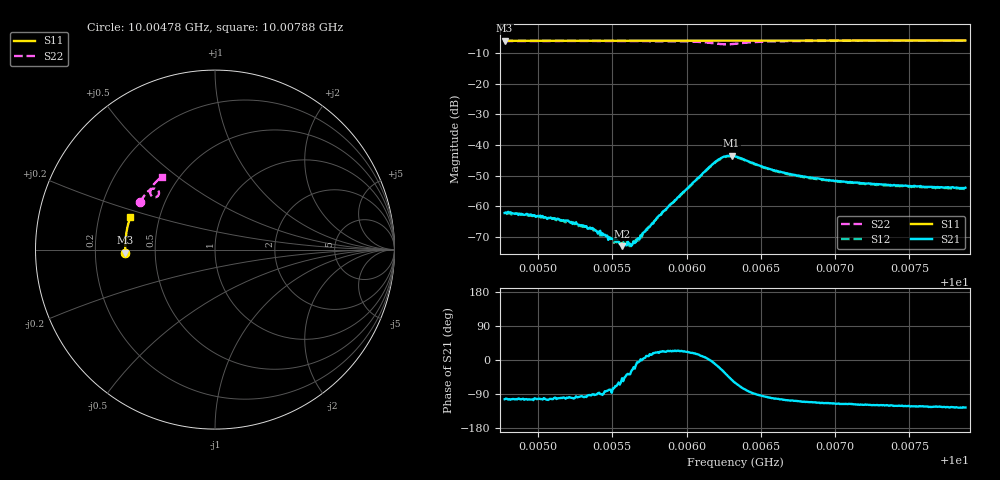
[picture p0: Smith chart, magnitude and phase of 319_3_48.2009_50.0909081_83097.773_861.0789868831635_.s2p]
#  HZ  S  RI  R  50.00
! Rohde & Schwarz Vector Network Analyzer
! Rohde-Schwarz,ZNB20-2Port,1311601062101988,3.16
! Created: UTC 3/20/2024, 11:50:19 AM
! freq[Hz]  re:S11  im:S11  re:S21  im:S21  re:S12  im:S12  re:S22  im:S22
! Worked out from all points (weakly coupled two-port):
!   401 points, 10.00478 GHz to 10.00788 GHz, reference 50 ohm
!   highest |S21| = -43.55 dB at 10.0063 GHz (marker M1); lowest = -73.1 dB at 10.00557 GHz (marker M2)
!   lowest |S11| = -6.0 dB at 10.00478 GHz (marker M3), VSWR 2.99, Z = 16.7 - j0.745 ohm
!   |S11| at or under -10 dB: nowhere
!   |S22| runs from -7.2 to -6.0 dB; largest |S21 - S12| = 0.00038
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1.0004775e10  -0.4989 -0.0167  -0.00018 -0.000753  -0.000144 -0.000769  -0.4169 0.2646
1.0004938e10  -0.4995 -0.00603  -0.000165 -0.000692  -0.00012 -0.000685  -0.4112 0.2743
1.0005093e10  -0.4997 0.00381  -0.000144 -0.000609  -0.000103 -0.000629  -0.4055 0.2835
1.0005248e10  -0.4999 0.014  -9.31e-05 -0.000508  -6.06e-05 -0.000505  -0.3994 0.2927
1.0005295e10  -0.4998 0.0171  -4.48e-05 -0.000486  -4.25e-05 -0.000468  -0.3974 0.2955
1.000538e10  -0.4998 0.0226  -1.71e-05 -0.000409  -4.84e-06 -0.000409  -0.3937 0.3006
1.0005419e10  -0.4999 0.0251  9.33e-07 -0.000396  9.08e-06 -0.000331  -0.3921 0.303
1.0005458e10  -0.4998 0.0277  4.26e-05 -0.00032  7.26e-05 -0.000324  -0.3902 0.3054
1.0005497e10  -0.4998 0.0301  1.87e-05 -0.000295  8.92e-05 -0.000263  -0.3884 0.3077
1.0005566e10  -0.4996 0.0347  0.000148 -0.000166  0.000145 -0.000202  -0.3849 0.312
1.0005621e10  -0.4994 0.0382  0.000193 -0.000148  0.000198 -0.000103  -0.382 0.3153
1.0005644e10  -0.4994 0.0396  0.000253 -8.7e-05  0.000256 -6.36e-05  -0.3808 0.3168
1.0005667e10  -0.4992 0.0412  0.000288 -3.01e-05  0.000272 -2.43e-05  -0.3794 0.3183
1.0005815e10  -0.4987 0.0506  0.000663 0.000224  0.000611 0.000247  -0.3695 0.3278
1.0006187e10  -0.496 0.0747  0.00506 -0.000771  0.00498 -0.000507  -0.3149 0.3263
1.0006249e10  -0.4952 0.0784  0.00551 -0.00324  0.0055 -0.00289  -0.314 0.305
1.0006303e10  -0.4949 0.0816  0.0041 -0.00522  0.00425 -0.00491  -0.3292 0.2921
1.0006326e10  -0.4949 0.0829  0.00324 -0.0056  0.00347 -0.00532  -0.337 0.2913
1.0006582e10  -0.4929 0.0994  -0.000721 -0.00379  -0.000552 -0.0038  -0.36 0.3294
1.0006846e10  -0.4897 0.1162  -0.00107 -0.00271  -0.000916 -0.00266  -0.3487 0.3532
1.0007365e10  -0.482 0.1488  -0.00112 -0.00189  -0.00101 -0.00195  -0.3229 0.3831
1.0007877e10  -0.4721 0.1802  -0.00116 -0.00163  -0.00103 -0.00163  -0.297 0.4066
